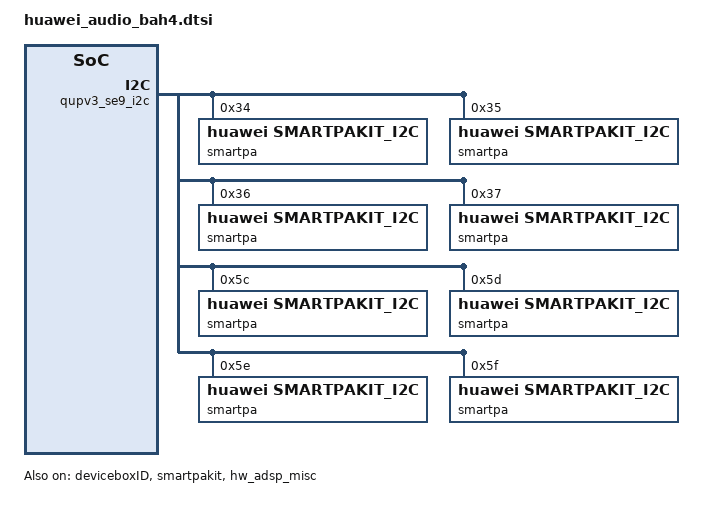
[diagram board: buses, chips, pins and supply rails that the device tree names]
&huawei_audio_info {
	product_identifier = "BAH4";
	smartpa_num = "4";
	speaker_test_content = "leftspeaker,rightspeaker,subleftspeaker,subrightspeaker";
	hardware_info {
		mic_num = "3";
		multi_mic_enable = "true";
		backmic_record_enable = "true";
		status = "ok";
		hostless_id_info {
			hostless_id_reset = "true";
			hsmic_tx_hostless_id = "46";
			spk_rx_hostless_id = "50";
		};
	};
};

&audio_hw_config {
	product_name = "BAH4";
};

&tdm_pri_rx {
	qcom,msm-cpudai-tdm-clk-rate = <6144000>;
	qcom,msm-cpudai-tdm-sync-mode = <2>;
};

&tdm_pri_tx {
	qcom,msm-cpudai-tdm-clk-rate = <6144000>;
	qcom,msm-cpudai-tdm-sync-mode = <2>;
};

&yupik_snd {
	qcom,tdm-max-slots = <4>;
};

&tlmm {
    smartpakit_irq_pins: smartpakit_irq_pins {
        smartpakit_irq_default: smartpakit_irq_default {
            mux {
                pins = "gpio19", "gpio78", "gpio32", "gpio0";
                function = "gpio";
            };

            config {
                pins = "gpio19", "gpio78", "gpio32", "gpio0";
                bias-pull-up;
                input-enable;
            };
        };
    };

    speaker_box_id_pin {
        speaker_id_default: speaker_default {
            mux {
                pins = "gpio136";
                function = "gpio";
            };
            config {
                pins = "gpio136";
                drive-strength = <2>;
                bias-pull-up;
            };
        };

        speaker_id_sleep: speaker_sleep {
            mux {
                pins = "gpio136";
                function = "gpio";
            };
            config {
                pins = "gpio136";
                drive-strength = <2>;
                bias-pull-down;
            };
        };
    };
    receiver_box_id_pin {
        receiver_id_default: receiver_default {
            mux {
                pins = "gpio93";
                function = "gpio";
            };
            config {
                pins = "gpio93";
                drive-strength = <2>;
                bias-pull-up;
            };
        };

        receiver_id_sleep: receiver_sleep {
            mux {
                pins = "gpio93";
                function = "gpio";
            };
            config {
                pins = "gpio93";
                drive-strength = <2>;
                bias-pull-down;
            };
        };
    };

    box3rd_id_pin {
        box3rd_id_default: box3rd_default {
            mux {
                pins = "gpio142";
                function = "gpio";
            };
            config {
                pins = "gpio142";
                drive-strength = <2>;
                bias-pull-up;
            };
        };

        box3rd_id_sleep: box3rd_sleep {
            mux {
                pins = "gpio142";
                function = "gpio";
            };
            config {
                pins = "gpio142";
                drive-strength = <2>;
                bias-pull-down;
            };
        };
    };
    box4rd_id_pin {
        box4rd_id_default: box4rd_default {
            mux {
                pins = "gpio102";
                function = "gpio";
            };
            config {
                pins = "gpio102";
                drive-strength = <2>;
                bias-pull-up;
            };
        };

        box4rd_id_sleep: box4rd_sleep {
            mux {
                pins = "gpio102";
                function = "gpio";
            };
            config {
                pins = "gpio102";
                drive-strength = <2>;
                bias-pull-down;
            };
        };
    };
};

&deviceboxID {
	compatible = "huawei,deviceboxID";
	check_mode = "gpio";
	box_num = <4>;
	enable_boxID = <1 1 1 1>;
	gpio_num = <1 1 1 1>;
	/*speaker ID GPIO configure*/
	gpio_speakerID = <&tlmm 136 0>; /* GPIO 136 TOP-L */
	gpio_receiverID = <&tlmm 93 0>; /* GPIO 93 BOT-L */
	gpio_3rdboxID = <&tlmm 142 0>; /* GPIO 142 TOP-R */
	gpio_4thboxID = <&tlmm 102 0>; /* GPIO 102 BOT-R */
	speaker_map = <2 1>;/*1 means AAC, 2 means GEER*/
	receiver_map = <2 1>;/*1 means AAC, 2 means GEER*/
	box3rd_map = <2 1>;/*1 means AAC, 2 means GEER*/
	box4th_map = <2 1>;/*1 means AAC, 2 means GEER*/
	pinctrl-names = "default", "idle";
	pinctrl-0 = <&speaker_id_default &receiver_id_default &box3rd_id_default &box4rd_id_default>;
	pinctrl-1 = <&speaker_id_sleep &receiver_id_sleep &box3rd_id_sleep &box4rd_id_sleep>;
	deviceboxID_limit = <500>;
	status = "ok";
	box_consistent_test_info {
		consistent_test_support;
		test_group_num = <1>;
		consistent_test_groups = <0 1 2 3>;
	};
};

&qupv3_se9_i2c {
	#address-cells = <1>;
	#size-cells = <0>;
	qcom,clk-freq-out = <400000>;
	status = "ok";

	smartpa@34 {
		compatible = "huawei,smartpakit_i2c";
		reg = <0x34>;
		/* 0 MAXIM, 1 NXP, 2 TI, 3 OTHER, 4:huawei customize */
		chip_vendor = <4>;
		/* refer to smartpakit.out_device prop */
		chip_id = <1>;
		chip_model = "01-02";
		status = "ok";

		/* reg_ctl node: a node contains three data<addr value ctl_type>
		 * ctl_type: 0 read reg(default), 1 write reg, 2 only time delay
		 * value:
		 *     read:  reg number(num >= 1)
		 *     write: reg value
		 *     delay: time delay
		 * time delay unit: msecs */
		version_regs = <0x03 1 0>;
		dump_regs = <0 256 0>;
		hw_reset {
			gpio_reset = <&tlmm 18 0>; // GPIO_18
			/* gpio_state node: a node contains two data<state delay>
			 * time delay unit: msecs */
			ctl_sequence = <1 1 0 1>;
		};
		irq_handler {
			gpio_irq = <&tlmm 32 0>; // GPIO_032
			/* 0x0 IRQF_TRIGGER_NONE, 0x1 IRQF_TRIGGER_RISING, 0x2 IRQF_TRIGGER_FALLING, 0x4 IRQF_TRIGGER_HIGH, 0x8 IRQF_TRIGGER_LOW*/
			irq_flags = <2>;
			/* whether or not need reset chip*/
			need_reset;
			rw_sequence = <
				0x10 1 0
				0x11 1 0
				0x13 1 0
				0x14 1 0
				0x40 1 0
				0x41 1 0
				0x42 1 0
			>;
		};
		regmap_cfg {
			reg_bits = <8>;
			val_bits = <16>;
			/* 0 REGCACHE_NONE, 1 REGCACHE_RBTREE, 2 REGCACHE_COMPRESSED, 3 REGCACHE_FLAT */
			cache_type = <0>;
			max_register = <0xff>;
			reg_defaults = <
				0x00 0x1801
				0x01 0x0014
			>;
		};
	};

	smartpa@35 {
		compatible = "huawei,smartpakit_i2c";
		reg = <0x35>;
		/* 0 MAXIM, 1 NXP, 2 TI, 3 OTHER, 4:huawei customize */
		chip_vendor = <4>;
		/* refer to smartpakit.out_device prop */
		chip_id = <3>;
		chip_model = "01-02";
		status = "ok";

		/* reg_ctl node: a node contains three data<addr value ctl_type>
		 * ctl_type: 0 read reg(default), 1 write reg, 2 only time delay
		 * value:
		 *     read:  reg number(num >= 1)
		 *     write: reg value
		 *     delay: time delay
		 * time delay unit: msecs */
		version_regs = <0x03 1 0>;
		dump_regs = <0 256 0>;
		hw_reset {
			gpio_reset = <&tlmm 18 0>; // GPIO_18
			/* gpio_state node: a node contains two data<state delay>
			 * time delay unit: msecs */
			ctl_sequence = <1 1 0 1>;
		};
		irq_handler {
			gpio_irq = <&tlmm 0 0>; // GPIO_000
			/* 0x0 IRQF_TRIGGER_NONE, 0x1 IRQF_TRIGGER_RISING, 0x2 IRQF_TRIGGER_FALLING, 0x4 IRQF_TRIGGER_HIGH, 0x8 IRQF_TRIGGER_LOW*/
			irq_flags = <2>;
			/* whether or not need reset chip*/
			need_reset;
			rw_sequence = <
				0x10 1 0
				0x11 1 0
				0x13 1 0
				0x14 1 0
				0x40 1 0
				0x41 1 0
				0x42 1 0
			>;
		};
		regmap_cfg {
			reg_bits = <8>;
			val_bits = <16>;
			/* 0 REGCACHE_NONE, 1 REGCACHE_RBTREE, 2 REGCACHE_COMPRESSED, 3 REGCACHE_FLAT */
			cache_type = <0>;
			max_register = <0xff>;
			reg_defaults = <
				0x00 0x1801
				0x01 0x0014
			>;
		};
	};

	smartpa@36 {
		compatible = "huawei,smartpakit_i2c";
		reg = <0x36>;
		/* 0 MAXIM, 1 NXP, 2 TI, 3 OTHER, 4:huawei customize */
		chip_vendor = <4>;
		/* refer to smartpakit.out_device prop */
		chip_id = <0>;
		chip_model = "01-02";
		status = "ok";

		/* reg_ctl node: a node contains three data<addr value ctl_type>
		 * ctl_type: 0 read reg(default), 1 write reg, 2 only time delay
		 * value:
		 *     read:  reg number(num >= 1)
		 *     write: reg value
		 *     delay: time delay
		 * time delay unit: msecs */
		version_regs = <0x03 1 0>;
		dump_regs = <0 256 0>;
		hw_reset {
			gpio_reset = <&tlmm 18 0>; // GPIO_18
			/* gpio_state node: a node contains two data<state delay>
			 * time delay unit: msecs */
			ctl_sequence = <1 1 0 1>;
		};
		irq_handler {
			gpio_irq = <&tlmm 19 0>; // GPIO_019
			/* 0x0 IRQF_TRIGGER_NONE, 0x1 IRQF_TRIGGER_RISING, 0x2 IRQF_TRIGGER_FALLING, 0x4 IRQF_TRIGGER_HIGH, 0x8 IRQF_TRIGGER_LOW*/
			irq_flags = <2>;
			/* whether or not need reset chip*/
			need_reset;
			rw_sequence = <
				0x10 1 0
				0x11 1 0
				0x13 1 0
				0x14 1 0
				0x40 1 0
				0x41 1 0
				0x42 1 0
			>;
		};
		regmap_cfg {
			reg_bits = <8>;
			val_bits = <16>;
			/* 0 REGCACHE_NONE, 1 REGCACHE_RBTREE, 2 REGCACHE_COMPRESSED, 3 REGCACHE_FLAT */
			cache_type = <0>;
			max_register = <0xff>;
			reg_defaults = <
				0x00 0x1801
				0x01 0x0014
			>;
		};
	};

	smartpa@37 {
		compatible = "huawei,smartpakit_i2c";
		reg = <0x37>;
		/* 0 MAXIM, 1 NXP, 2 TI, 3 OTHER, 4:huawei customize */
		chip_vendor = <4>;
		/* refer to smartpakit.out_device prop */
		chip_id = <2>;
		chip_model = "01-02";
		status = "ok";

		/* reg_ctl node: a node contains three data<addr value ctl_type>
		 * ctl_type: 0 read reg(default), 1 write reg, 2 only time delay
		 * value:
		 *     read:  reg number(num >= 1)
		 *     write: reg value
		 *     delay: time delay
		 * time delay unit: msecs */
		version_regs = <0x03 1 0>;
		dump_regs = <0 256 0>;
		hw_reset {
			gpio_reset = <&tlmm 18 0>; // GPIO_18
			/* gpio_state node: a node contains two data<state delay>
			 * time delay unit: msecs */
			ctl_sequence = <1 1 0 1>;
		};
		irq_handler {
			gpio_irq = <&tlmm 78 0>; // GPIO_078
			/* 0x0 IRQF_TRIGGER_NONE, 0x1 IRQF_TRIGGER_RISING, 0x2 IRQF_TRIGGER_FALLING, 0x4 IRQF_TRIGGER_HIGH, 0x8 IRQF_TRIGGER_LOW*/
			irq_flags = <2>;
			/* whether or not need reset chip*/
			need_reset;
			rw_sequence = <
				0x10 1 0
				0x11 1 0
				0x13 1 0
				0x14 1 0
				0x40 1 0
				0x41 1 0
				0x42 1 0
			>;
		};
		regmap_cfg {
			reg_bits = <8>;
			val_bits = <16>;
			/* 0 REGCACHE_NONE, 1 REGCACHE_RBTREE, 2 REGCACHE_COMPRESSED, 3 REGCACHE_FLAT */
			cache_type = <0>;
			max_register = <0xff>;
			reg_defaults = <
				0x00 0x1801
				0x01 0x0014
			>;
		};
	};

	smartpa@5C{
		compatible = "huawei,smartpakit_i2c";
		reg = <0x5C>;
		chip_vendor = <4>;
		/* refer to smartpakit.out_device prop */
		chip_id = <1>;
		chip_model = "05-01";
		reset_debounce_wait_time = <500>;
		status = "ok";

		/* reg_ctl node: a node contains three data<addr value ctl_type>
		 * ctl_type: 0 read reg(default), 1 write reg, 2 only time delay
		 * value:
		 *     read:  reg number(num >= 1)
		 *     write: reg value
		 *     delay: time delay
		 * time delay unit: msecs */
		version_regs = <0x03 1 0>;
		dump_regs = <0 256 0>;
		hw_reset {
			gpio_reset = <&tlmm 18 0>; // GPIO_18
			/* gpio_state node: a node contains two data<state delay>
			 * time delay unit: msecs */
			ctl_sequence = <0 1 1 1>;
		};
		irq_handler {
			gpio_irq = <&tlmm 32 0>; // GPIO_032
			/* 0x0 IRQF_TRIGGER_NONE, 0x1 IRQF_TRIGGER_RISING, 0x2 IRQF_TRIGGER_FALLING, 0x4 IRQF_TRIGGER_HIGH, 0x8 IRQF_TRIGGER_LOW */
			irq_flags = <2>;
			/* whether or not need reset chip*/
			need_reset;
			rw_sequence = <
				0x01 1 0
				0x05 1 0
				0x09 1 0
				0x03 6 1 // mute chip
			>;
		};
		regmap_cfg {
			reg_bits = <8>;
			val_bits = <16>;
			/* 0 REGCACHE_NONE, 1 REGCACHE_RBTREE, 2 REGCACHE_COMPRESSED, 3 REGCACHE_FLAT */
			cache_type = <0>;
			max_register = <0xff>;
		};
	};

	smartpa@5D{
		compatible = "huawei,smartpakit_i2c";
		reg = <0x5D>;
		chip_vendor = <4>;
		/* refer to smartpakit.out_device prop */
		chip_id = <3>;
		chip_model = "05-01";
		reset_debounce_wait_time = <500>;
		status = "ok";

		/* reg_ctl node: a node contains three data<addr value ctl_type>
		 * ctl_type: 0 read reg(default), 1 write reg, 2 only time delay
		 * value:
		 *     read:  reg number(num >= 1)
		 *     write: reg value
		 *     delay: time delay
		 * time delay unit: msecs */
		version_regs = <0x03 1 0>;
		dump_regs = <0 256 0>;
		hw_reset {
			gpio_reset = <&tlmm 18 0>; // GPIO_18
			/* gpio_state node: a node contains two data<state delay>
			 * time delay unit: msecs */
			ctl_sequence = <0 1 1 1>;
		};
		irq_handler {
			gpio_irq = <&tlmm 0 0>; // GPIO_000
			/* 0x0 IRQF_TRIGGER_NONE, 0x1 IRQF_TRIGGER_RISING, 0x2 IRQF_TRIGGER_FALLING, 0x4 IRQF_TRIGGER_HIGH, 0x8 IRQF_TRIGGER_LOW */
			irq_flags = <2>;
			/* whether or not need reset chip */
			need_reset;
			rw_sequence = <
				0x01 1 0
				0x05 1 0
				0x09 1 0
				0x03 6 1 // mute chip
			>;
		};
		regmap_cfg {
			reg_bits = <8>;
			val_bits = <16>;
			/* 0 REGCACHE_NONE, 1 REGCACHE_RBTREE, 2 REGCACHE_COMPRESSED, 3 REGCACHE_FLAT */
			cache_type = <0>;
			max_register = <0xff>;
		};
	};

	smartpa@5E{
		compatible = "huawei,smartpakit_i2c";
		reg = <0x5E>;
		chip_vendor = <4>;
		/* refer to smartpakit.out_device prop */
		chip_id = <0>;
		chip_model = "05-01";
		reset_debounce_wait_time = <500>;
		status = "ok";

		/* reg_ctl node: a node contains three data<addr value ctl_type>
		 * ctl_type: 0 read reg(default), 1 write reg, 2 only time delay
		 * value:
		 *     read:  reg number(num >= 1)
		 *     write: reg value
		 *     delay: time delay
		 * time delay unit: msecs */
		version_regs = <0x03 1 0>;
		dump_regs = <0 256 0>;
		hw_reset {
			gpio_reset = <&tlmm 18 0>; // GPIO_18
			/* gpio_state node: a node contains two data<state delay>
			 * time delay unit: msecs */
			ctl_sequence = <0 1 1 1>;
		};
		irq_handler {
			gpio_irq = <&tlmm 19 0>; // GPIO_019
			/* 0x0 IRQF_TRIGGER_NONE, 0x1 IRQF_TRIGGER_RISING, 0x2 IRQF_TRIGGER_FALLING, 0x4 IRQF_TRIGGER_HIGH, 0x8 IRQF_TRIGGER_LOW */
			irq_flags = <2>;
			/* whether or not need reset chip */
			need_reset;
			rw_sequence = <
				0x01 1 0
				0x05 1 0
				0x09 1 0
				0x03 6 1 // mute chip
			>;
		};
		regmap_cfg {
			reg_bits = <8>;
			val_bits = <16>;
			/* 0 REGCACHE_NONE, 1 REGCACHE_RBTREE, 2 REGCACHE_COMPRESSED, 3 REGCACHE_FLAT */
			cache_type = <0>;
			max_register = <0xff>;
		};
	};

	smartpa@5F{
		compatible = "huawei,smartpakit_i2c";
		reg = <0x5F>;
		chip_vendor = <4>;
		/* refer to smartpakit.out_device prop */
		chip_id = <2>;
		chip_model = "05-01";
		reset_debounce_wait_time = <500>;
		status = "ok";

		/* reg_ctl node: a node contains three data<addr value ctl_type>
		 * ctl_type: 0 read reg(default), 1 write reg, 2 only time delay
		 * value:
		 *     read:  reg number(num >= 1)
		 *     write: reg value
		 *     delay: time delay
		 * time delay unit: msecs */
		version_regs = <0x03 1 0>;
		dump_regs = <0 256 0>;
		hw_reset {
			gpio_reset = <&tlmm 18 0>; // GPIO_18
			/* gpio_state node: a node contains two data<state delay>
			 * time delay unit: msecs */
			ctl_sequence = <0 1 1 1>;
		};
		irq_handler {
			gpio_irq = <&tlmm 78 0>; // GPIO_078
			/* 0x0 IRQF_TRIGGER_NONE, 0x1 IRQF_TRIGGER_RISING, 0x2 IRQF_TRIGGER_FALLING, 0x4 IRQF_TRIGGER_HIGH, 0x8 IRQF_TRIGGER_LOW */
			irq_flags = <2>;
			/* whether or not need reset chip */
			need_reset;
			rw_sequence = <
				0x01 1 0
				0x05 1 0
				0x09 1 0
				0x03 6 1 // mute chip
			>;
		};
		regmap_cfg {
			reg_bits = <8>;
			val_bits = <16>;
			/* 0 REGCACHE_NONE, 1 REGCACHE_RBTREE, 2 REGCACHE_COMPRESSED, 3 REGCACHE_FLAT */
			cache_type = <0>;
			max_register = <0xff>;
		};
	};

};

&smartpakit {
	compatible = "huawei,smartpakit";
	/* 0 hisi, 1 qcom */
	soc_platform = <1>;
	/* algo running on: 0 codec_dsp, 1 soc_dsp, 2 smartpa_dsp, 3 simple pa(not smpartpa), 4 simple pa(with i2c) */
	algo_in = <1>;
	/* algo_in params need match out_device for smartpa.
	 * Now, up to only support eight pa, so out_device = <0 0 0 0 0 0 0 0>;
	 * 1. This array is arranged in the following order:
	 *    <0 1 2 3>
	 *    <pril prir secl secr>
	 * 2. This array element value is 0 or 1:
	 *    smartpa: 0 speaker, 1 receiver
	 *    simple pa: out_device not applicable, only set 0 to indicate pa_num
	 * 3. The length of this array is variable, for example:
	 *    single pa: out_device = <0>;
	 *    two pa: out_device = <0 0>;
	 *    four pa: out_device = <1 1 0 0>;
	 *    eight pa: out_device = <0 0 0 0 0 0 0 0>; */
	out_device = <0 0 0 0>;
	/* param_version: 1 mixed smartpa param support */
	param_version = <1>;
	cali_data_update_mode = <1>;
	status = "ok";

	smartpakit_irq_pinctrl {
		pinctrl-names = "default";
		pinctrl-0 = <&smartpakit_irq_default>;
	};
};

&hw_adsp_misc {
	compatible = "hw,hw_adsp_misc";
	rx_port_id = <0x9000>;
	tx_port_id = <0x9001>;
	smartpa_num = <4>;
	status = "ok";

	customize_smartamp: customize_smartamp@0{
		compatible = "huawei,customize_smartamp";
		algo_control_need = <0>;
		status = "ok";
	};
};
